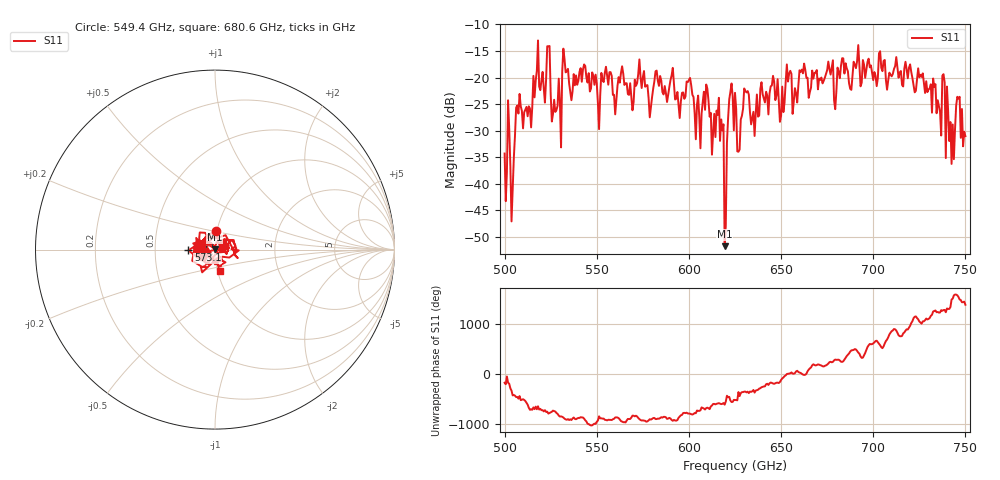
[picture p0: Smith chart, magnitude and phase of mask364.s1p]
!Created with skrf (http://scikit-rf.org).
# GHz S MA R 50.0
!freq magS11 angS11
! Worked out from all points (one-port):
!   401 points, 500 GHz to 750 GHz, reference 50 ohm
!   lowest |S11| = -51.7 dB at 619.4 GHz (marker M1), VSWR 1.01, Z = 49.9 + j0.245 ohm
!   |S11| at or under -10 dB: start of sweep to end of sweep
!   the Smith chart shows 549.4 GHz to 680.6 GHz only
!   S11 on the Smith chart (normalised r, x): 549.4 GHz: 0.99, +0.21; 573.1 GHz: 0.74, -0.01; 680.6 GHz: 1.02, -0.25
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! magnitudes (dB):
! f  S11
! 500 GHz  -34.3
! 504.4 GHz  -41.3
! 507.5 GHz  -26.8
! 513.8 GHz  -25.8
! 516.9 GHz  -20.6
! 523.8 GHz  -14.1
! 526.9 GHz  -24.2
! 531.2 GHz  -18.9
! 549.4 GHz  -19.5
! 562.5 GHz  -21.0
! 573.1 GHz  -16.6
! 593.8 GHz  -22.7
! 600 GHz  -20.5
! 605 GHz  -23.4
! 609.4 GHz  -21.3
! 617.5 GHz  -27.9
! 619.4 GHz  -51.7
! 620.6 GHz  -32.3
! 622.5 GHz  -22.7
! 625 GHz  -22.9
! 627.5 GHz  -33.6
! 631.2 GHz  -22.8
! 635 GHz  -26.5
! 656.2 GHz  -26.8
! 680.6 GHz  -18.1
! 687.5 GHz  -22.1
! 718.8 GHz  -20.1
! 750 GHz  -31.0
